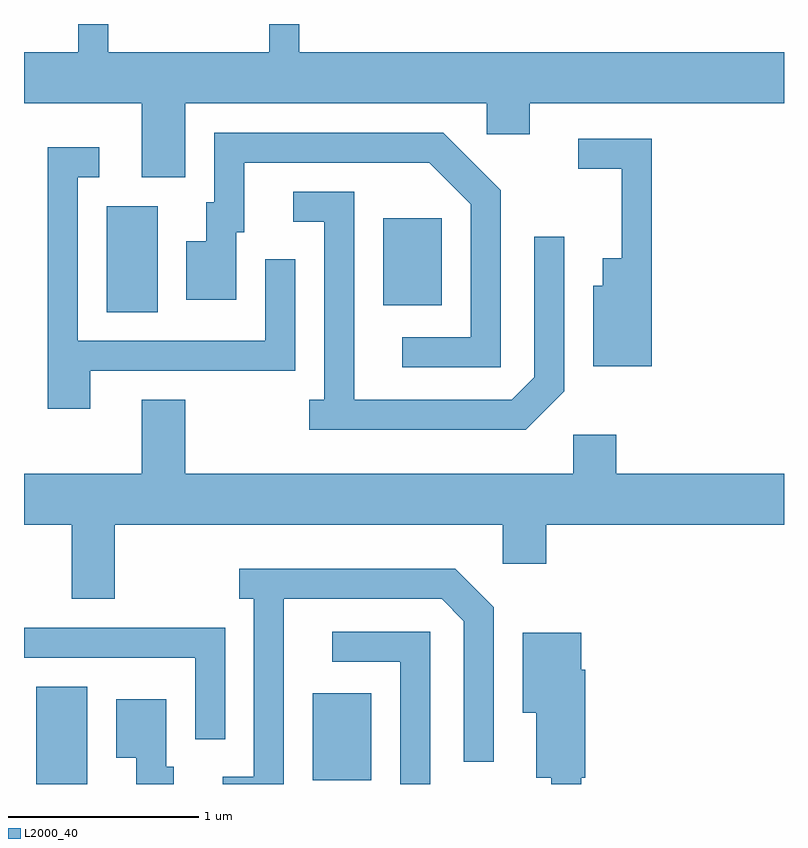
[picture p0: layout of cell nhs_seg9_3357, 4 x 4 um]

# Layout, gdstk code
import gdstk
lib = gdstk.Library(unit=1e-6, precision=1e-09)
def R(c, l, rs):  # rectangles x0, y0, x1, y1
    for r in rs: c.add(gdstk.rectangle(r[:2], r[2:], *l))
def P(c, l, *ps):  # polygons
    for p in ps: c.add(gdstk.Polygon(p, *l))
L2000_40 = (2000, 40)

nhs_seg9_3357 = lib.new_cell('nhs_seg9_3357')
R(nhs_seg9_3357, L2000_40, [(283.676,2010.432,283.944,2010.944), (285.131,2010.451,285.439,2010.909), (284.046,2012.916,284.314,2013.474), (285.501,2012.951,285.809,2013.409)])
P(nhs_seg9_3357, L2000_40, [(283.896,2014.432),(283.896,2014.284),(283.611,2014.284),(283.611,2014.016),(284.231,2014.016),(284.231,2013.626),(284.459,2013.626),(284.459,2014.016),(286.046,2014.016),(286.046,2013.851),(286.274,2013.851),(286.274,2014.016),(287.611,2014.016),(287.611,2014.284),(285.059,2014.284),(285.059,2014.432),(284.901,2014.432),(284.901,2014.284),(284.054,2014.284),(284.054,2014.432)],
  [(286.119,2013.557),(285.817,2013.859),(284.611,2013.859),(284.611,2013.494),(284.571,2013.494),(284.571,2013.289),(284.466,2013.289),(284.466,2012.981),(284.729,2012.981),(284.729,2013.336),(284.769,2013.336),(284.769,2013.701),(285.744,2013.701),(285.961,2013.484),(285.961,2012.784),(285.603,2012.784),(285.603,2012.626),(286.119,2012.626)],
  [(286.914,2013.829),(286.528,2013.829),(286.528,2013.671),(286.756,2013.671),(286.756,2013.199),(286.656,2013.199),(286.656,2013.054),(286.606,2013.054),(286.606,2012.631),(286.914,2012.631)],
  [(283.959,2012.606),(285.039,2012.606),(285.039,2013.193),(284.881,2013.193),(284.881,2012.764),(283.894,2012.764),(283.894,2013.626),(284.008,2013.626),(284.008,2013.784),(283.736,2013.784),(283.736,2012.406),(283.959,2012.406)],
  [(286.454,2012.499),(286.454,2013.313),(286.296,2013.313),(286.296,2012.572),(286.179,2012.454),(285.349,2012.454),(285.349,2013.549),(285.028,2013.549),(285.028,2013.391),(285.191,2013.391),(285.191,2012.454),(285.113,2012.454),(285.113,2012.296),(286.252,2012.296)],
  [(284.089,2011.796),(286.131,2011.796),(286.131,2011.591),(286.359,2011.591),(286.359,2011.796),(287.611,2011.796),(287.611,2012.064),(286.729,2012.064),(286.729,2012.269),(286.501,2012.269),(286.501,2012.064),(284.459,2012.064),(284.459,2012.454),(284.231,2012.454),(284.231,2012.064),(283.611,2012.064),(283.611,2011.796),(283.861,2011.796),(283.861,2011.406),(284.089,2011.406)],
  [(284.979,2011.406),(285.809,2011.406),(285.926,2011.289),(285.926,2010.548),(286.084,2010.548),(286.084,2011.362),(285.882,2011.564),(284.743,2011.564),(284.743,2011.406),(284.821,2011.406),(284.821,2010.469),(284.658,2010.469),(284.658,2010.432),(284.979,2010.432)],
  [(284.669,2011.254),(283.611,2011.254),(283.611,2011.096),(284.511,2011.096),(284.511,2010.668),(284.669,2010.668)],
  [(285.749,2011.234),(285.233,2011.234),(285.233,2011.076),(285.591,2011.076),(285.591,2010.432),(285.749,2010.432)],
  [(286.544,2010.466),(286.564,2010.466),(286.564,2011.034),(286.544,2011.034),(286.544,2011.229),(286.236,2011.229),(286.236,2010.806),(286.306,2010.806),(286.306,2010.466),(286.386,2010.466),(286.386,2010.432),(286.544,2010.432)],
  [(284.399,2010.524),(284.359,2010.524),(284.359,2010.879),(284.096,2010.879),(284.096,2010.571),(284.201,2010.571),(284.201,2010.432),(284.399,2010.432)])

lib.write_gds('nhs_seg9_3357.gds')
